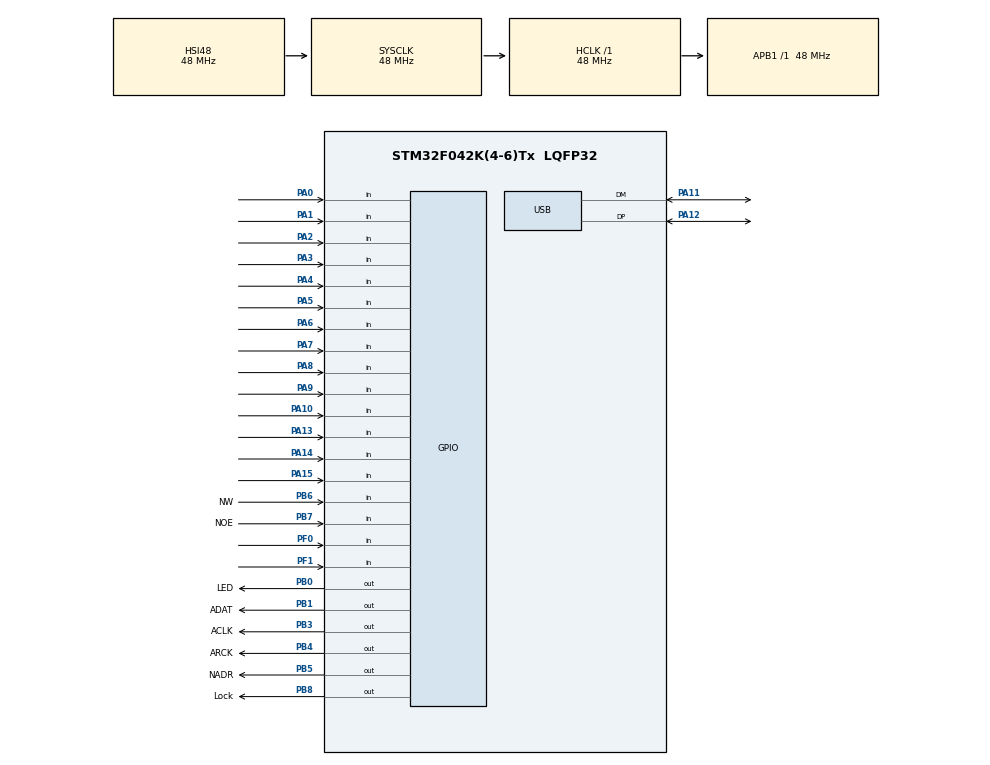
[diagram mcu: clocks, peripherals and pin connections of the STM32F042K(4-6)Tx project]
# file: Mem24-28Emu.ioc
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Mcu.Family=STM32F0
Mcu.Name=STM32F042K(4-6)Tx
Mcu.Package=LQFP32
NVIC.USB_IRQn=true\:0\:0\:false\:false\:true\:false
PA0.Signal=GPIO_Input
PA1.Signal=GPIO_Input
PA10.Signal=GPIO_Input
PA11.Mode=Device
PA11.Signal=USB_DM
PA12.Mode=Device
PA12.Signal=USB_DP
PA13.Signal=GPIO_Input
PA14.Signal=GPIO_Input
PA15.Signal=GPIO_Input
PA2.Signal=GPIO_Input
PA3.Signal=GPIO_Input
PA4.Signal=GPIO_Input
PA5.Signal=GPIO_Input
PA6.Signal=GPIO_Input
PA7.Signal=GPIO_Input
PA8.Signal=GPIO_Input
PA9.Signal=GPIO_Input
PB0.GPIO_Label=LED
PB0.Signal=GPIO_Output
PB1.GPIO_Label=ADAT
PB1.GPIO_ModeDefaultOutputPP=GPIO_MODE_OUTPUT_OD
PB1.Signal=GPIO_Output
PB3.GPIO_Label=ACLK
PB3.GPIO_ModeDefaultOutputPP=GPIO_MODE_OUTPUT_OD
PB3.Signal=GPIO_Output
PB4.GPIO_Label=ARCK
PB4.GPIO_ModeDefaultOutputPP=GPIO_MODE_OUTPUT_OD
PB4.Signal=GPIO_Output
PB5.GPIO_Label=NADR
PB5.GPIO_ModeDefaultOutputPP=GPIO_MODE_OUTPUT_OD
PB5.PinState=GPIO_PIN_SET
PB5.Signal=GPIO_Output
PB6.GPIO_Label=NW
PB6.Signal=GPIO_Input
PB7.GPIO_Label=NOE
PB7.Signal=GPIO_Input
PB8.GPIO_Label=Lock
PB8.GPIO_ModeDefaultOutputPP=GPIO_MODE_OUTPUT_OD
PB8.Signal=GPIO_Output
PF0-OSC_IN.Signal=GPIO_Input
PF1-OSC_OUT.Signal=GPIO_Input
ProjectManager.HeapSize=0x200
ProjectManager.StackSize=0x400
ProjectManager.TargetToolchain=SW4STM32
RCC.AHBFreq_Value=48000000
RCC.APB1Freq_Value=48000000
RCC.APB1TimFreq_Value=48000000
RCC.HCLKFreq_Value=48000000
RCC.SYSCLKFreq_VALUE=48000000
RCC.SYSCLKSource=RCC_SYSCLKSOURCE_HSI48
USB_DEVICE.APP_RX_DATA_SIZE=128
USB_DEVICE.APP_TX_DATA_SIZE=128
USB_DEVICE.CLASS_NAME_FS=CDC
USB_DEVICE.MANUFACTURER_STRING=TOYOSHIMA-HOUSE
USB_DEVICE.PID_CDC_FS=0x2428
USB_DEVICE.PRODUCT_STRING_CDC_FS=Ram24-28Emu
USB_DEVICE.USBD_MAX_STR_DESC_SIZ=64
USB_DEVICE.USBD_SELF_POWERED=0
USB_DEVICE.VID=0x6666
USB_DEVICE.VirtualMode=Cdc
USB_DEVICE.VirtualModeFS=Cdc_FS
VP_RCC_USB.Mode=CRS SYNC Source USB
VP_USB_DEVICE_VS_USB_DEVICE_CDC_FS.Mode=CDC_FS
board=custom

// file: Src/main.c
/* USER CODE BEGIN Header */
/**
  ******************************************************************************
  * @file           : main.c
  * @brief          : Main program body
  ******************************************************************************
  * This notice applies to any and all portions of this file
  * that are not between comment pairs USER CODE BEGIN and
  * USER CODE END. Other portions of this file, whether
  * inserted by the user or by software development tools
  * are owned by their respective copyright owners.
  *
  * Copyright (c) 2018 STMicroelectronics International N.V.
  * All rights reserved.
  *
  * Redistribution and use in source and binary forms, with or without
  * modification, are permitted, provided that the following conditions are met:
  *
  * 1. Redistribution of source code must retain the above copyright notice,
  *    this list of conditions and the following disclaimer.
  * 2. Redistributions in binary form must reproduce the above copyright notice,
  *    this list of conditions and the following disclaimer in the documentation
  *    and/or other materials provided with the distribution.
  * 3. Neither the name of STMicroelectronics nor the names of other
  *    contributors to this software may be used to endorse or promote products
  *    derived from this software without specific written permission.
  * 4. This software, including modifications and/or derivative works of this
  *    software, must execute solely and exclusively on microcontroller or
  *    microprocessor devices manufactured by or for STMicroelectronics.
  * 5. Redistribution and use of this software other than as permitted under
  *    this license is void and will automatically terminate your rights under
  *    this license.
  *
  * THIS SOFTWARE IS PROVIDED BY STMICROELECTRONICS AND CONTRIBUTORS "AS IS"
  * AND ANY EXPRESS, IMPLIED OR STATUTORY WARRANTIES, INCLUDING, BUT NOT
  * LIMITED TO, THE IMPLIED WARRANTIES OF MERCHANTABILITY, FITNESS FOR A
  * PARTICULAR PURPOSE AND NON-INFRINGEMENT OF THIRD PARTY INTELLECTUAL PROPERTY
  * RIGHTS ARE DISCLAIMED TO THE FULLEST EXTENT PERMITTED BY LAW. IN NO EVENT
  * SHALL STMICROELECTRONICS OR CONTRIBUTORS BE LIABLE FOR ANY DIRECT, INDIRECT,
  * INCIDENTAL, SPECIAL, EXEMPLARY, OR CONSEQUENTIAL DAMAGES (INCLUDING, BUT NOT
  * LIMITED TO, PROCUREMENT OF SUBSTITUTE GOODS OR SERVICES; LOSS OF USE, DATA,
  * OR PROFITS; OR BUSINESS INTERRUPTION) HOWEVER CAUSED AND ON ANY THEORY OF
  * LIABILITY, WHETHER IN CONTRACT, STRICT LIABILITY, OR TORT (INCLUDING
  * NEGLIGENCE OR OTHERWISE) ARISING IN ANY WAY OUT OF THE USE OF THIS SOFTWARE,
  * EVEN IF ADVISED OF THE POSSIBILITY OF SUCH DAMAGE.
  *
  ******************************************************************************
  */
/* USER CODE END Header */

#include "main.h"
#include "usb_device.h"

/* USER CODE BEGIN Includes */
#include <stdarg.h>
#include "stm32f0xx_hal_gpio.h"
#include "usbd_cdc_if.h"

/* USER CODE END Includes */

/* USER CODE BEGIN PD */
// If USE_SWD_PRINTF is defined, the target device will not work without
// ST-Link connected via SWD.
//#define USE_SWD_PRINTF
//#define USE_CDC_PRINTF
//#define USE_SWD

/* USER CODE END PD */

void SystemClock_Config(void);
static void MX_GPIO_Init(void);
/* USER CODE BEGIN PFP */

int boot_to_dfu = 0;

void __initialize_hardware_early(void)
{
  if (boot_to_dfu) {
    boot_to_dfu = 0;
    ((void (*)(void))0x1fffc400)();
  } else {
    SystemInit();
  }
}

#ifdef USE_SWD_PRINTF
extern void initialise_monitor_handles();
#endif

#ifdef USE_CDC_PRINTF
#define printf CDC_Printf
#endif

int CDC_Printf(const char* format, ...) {
  char buf[128];
  va_list arg;
  va_start(arg, format);
  int size = vsnprintf(buf, 126, format, arg);
  if (buf[size - 1] == '\n') {
    buf[size - 1] = '\r';
    buf[size] = '\n';
    size++;
  }
  buf[size] = 0;
  CDC_Puts(buf);
  return size;
}

void ActivateAddress() {
  HAL_GPIO_WritePin(NADR_GPIO_Port, NADR_Pin, GPIO_PIN_RESET);
}

void InactivateAddress() {
  HAL_GPIO_WritePin(NADR_GPIO_Port, NADR_Pin, GPIO_PIN_SET);
}

void SetAddress(uint16_t address) {
  HAL_GPIO_WritePin(ACLK_GPIO_Port, ACLK_Pin, GPIO_PIN_RESET);
  HAL_GPIO_WritePin(ARCK_GPIO_Port, ARCK_Pin, GPIO_PIN_RESET);
  int i;
  for (i = 0; i < 16; ++i) {
    HAL_GPIO_WritePin(ADAT_GPIO_Port, ADAT_Pin, (address & 0x8000) ? GPIO_PIN_SET : GPIO_PIN_RESET);
    address <<= 1;
    //
    HAL_GPIO_WritePin(ACLK_GPIO_Port, ACLK_Pin, GPIO_PIN_SET);
    //
    HAL_GPIO_WritePin(ACLK_GPIO_Port, ACLK_Pin, GPIO_PIN_RESET);
    HAL_GPIO_WritePin(ARCK_GPIO_Port, ARCK_Pin, GPIO_PIN_SET);
    //
    HAL_GPIO_WritePin(ARCK_GPIO_Port, ARCK_Pin, GPIO_PIN_RESET);
  }
}

void ActivateData() {
  GPIO_InitTypeDef GPIO_InitStruct = {0};
  GPIO_InitStruct.Pin = GPIO_PIN_0|GPIO_PIN_1|GPIO_PIN_2|GPIO_PIN_3
                          |GPIO_PIN_4|GPIO_PIN_5|GPIO_PIN_6|GPIO_PIN_7
                          |GPIO_PIN_8|GPIO_PIN_9|GPIO_PIN_10|GPIO_PIN_15
#ifdef USE_SWD
			  ;
#else
			  |GPIO_PIN_13|GPIO_PIN_14;
#endif
  GPIO_InitStruct.Mode = GPIO_MODE_OUTPUT_PP;
  GPIO_InitStruct.Pull = GPIO_NOPULL;
  HAL_GPIO_Init(GPIOA, &GPIO_InitStruct);

  GPIO_InitStruct.Pin = GPIO_PIN_0|GPIO_PIN_1;
  HAL_GPIO_Init(GPIOF, &GPIO_InitStruct);
}

void InactivateData() {
  GPIO_InitTypeDef GPIO_InitStruct = {0};
  GPIO_InitStruct.Pin = GPIO_PIN_0|GPIO_PIN_1|GPIO_PIN_2|GPIO_PIN_3
                          |GPIO_PIN_4|GPIO_PIN_5|GPIO_PIN_6|GPIO_PIN_7
                          |GPIO_PIN_8|GPIO_PIN_9|GPIO_PIN_10|GPIO_PIN_15
#ifdef USE_SWD
			  ;
#else
                          |GPIO_PIN_13|GPIO_PIN_14;
#endif
  GPIO_InitStruct.Mode = GPIO_MODE_INPUT;
  GPIO_InitStruct.Pull = GPIO_NOPULL;
  HAL_GPIO_Init(GPIOA, &GPIO_InitStruct);

  GPIO_InitStruct.Pin = GPIO_PIN_0|GPIO_PIN_1;
  HAL_GPIO_Init(GPIOF, &GPIO_InitStruct);
}

void ActivateControl() {
  HAL_GPIO_WritePin(NW_GPIO_Port, NW_Pin, GPIO_PIN_SET);
  HAL_GPIO_WritePin(NOE_GPIO_Port, NOE_Pin, GPIO_PIN_SET);

  GPIO_InitTypeDef GPIO_InitStruct = {0};
  GPIO_InitStruct.Pin = NW_Pin|NOE_Pin;
  GPIO_InitStruct.Mode = GPIO_MODE_OUTPUT_OD;
  GPIO_InitStruct.Pull = GPIO_NOPULL;
  HAL_GPIO_Init(NW_GPIO_Port, &GPIO_InitStruct);
}

void InactivateControl() {
  GPIO_InitTypeDef GPIO_InitStruct = {0};
  GPIO_InitStruct.Pin = NW_Pin|NOE_Pin;
  GPIO_InitStruct.Mode = GPIO_MODE_INPUT;
  GPIO_InitStruct.Pull = GPIO_NOPULL;
  HAL_GPIO_Init(NW_GPIO_Port, &GPIO_InitStruct);
}

void LockRAM() {
  HAL_GPIO_WritePin(Lock_GPIO_Port, Lock_Pin, GPIO_PIN_SET);
  ActivateAddress();
  ActivateControl();
}

void WriteRAM(uint16_t address, uint16_t data) {
  SetAddress(address);

  ActivateData();
  uint16_t a = (data & 0x07ff) | ((data << 2) & 0xe000);
  uint16_t f = (data >> 14) & 0x0003;
#ifdef USE_SWD
  GPIOA->ODR = (GPIOA->ODR & 0xffff7800) | (a & 0x87ff);
#else
  GPIOA->ODR = (GPIOA->ODR & 0xffff1800) | a;
#endif
  GPIOF->ODR = (GPIOF->ODR & 0xfffffffc) | f;

  HAL_GPIO_WritePin(NW_GPIO_Port, NW_Pin, GPIO_PIN_RESET);
  HAL_GPIO_WritePin(NW_GPIO_Port, NW_Pin, GPIO_PIN_SET);

  InactivateData();
}

uint16_t ReadRAM(uint16_t address) {
  SetAddress(address);
  HAL_GPIO_WritePin(NOE_GPIO_Port, NOE_Pin, GPIO_PIN_RESET);
  uint16_t a = GPIOA->IDR;
  uint16_t f = GPIOF->IDR;
  HAL_GPIO_WritePin(NOE_GPIO_Port, NOE_Pin, GPIO_PIN_SET);
  return (a & 0x07ff) | ((a >> 2) & 0x3800) | (f << 14);
}

void UnlockRAM() {
  InactivateData();
  InactivateControl();
  InactivateAddress();
  HAL_GPIO_WritePin(Lock_GPIO_Port, Lock_Pin, GPIO_PIN_RESET);
}

void SetLEDOn() {
  HAL_GPIO_WritePin(LED_GPIO_Port, LED_Pin, GPIO_PIN_RESET);
}

void SetLEDOff() {
  HAL_GPIO_WritePin(LED_GPIO_Port, LED_Pin, GPIO_PIN_SET);
}

void ActivateSWD() {
  HAL_GPIO_WritePin(Lock_GPIO_Port, Lock_Pin, GPIO_PIN_SET);

  GPIO_InitTypeDef GPIO_InitStruct = {0};
  GPIO_InitStruct.Pin = GPIO_PIN_13;
  GPIO_InitStruct.Mode = GPIO_MODE_AF_PP;
  GPIO_InitStruct.Pull = GPIO_PULLUP;
  GPIO_InitStruct.Alternate = GPIO_AF0_SWDIO;
  HAL_GPIO_Init(GPIOA, &GPIO_InitStruct);

  GPIO_InitStruct.Pin = GPIO_PIN_14;
  GPIO_InitStruct.Mode = GPIO_MODE_AF_PP;
  GPIO_InitStruct.Pull = GPIO_PULLDOWN;
  GPIO_InitStruct.Alternate = GPIO_AF0_SWCLK;
  HAL_GPIO_Init(GPIOA, &GPIO_InitStruct);
}
/* USER CODE END PFP */

int main(void)
{
  /* USER CODE BEGIN 1 */
#ifdef USE_SWD_PRINTF
  initialise_monitor_handles();
#endif

  /* USER CODE END 1 */

  /* MCU Configuration--------------------------------------------------------*/

  /* Reset of all peripherals, Initializes the Flash interface and the Systick. */
  HAL_Init();

  /* Configure the system clock */
  SystemClock_Config();

  /* Initialize all configured peripherals */
  MX_GPIO_Init();
  MX_USB_DEVICE_Init();

  /* Infinite loop */
  /* USER CODE BEGIN WHILE */
  SetLEDOff();

  uint16_t address = 0;
  uint16_t data = 0;
  uint16_t burst = 0;
  uint8_t buf[64];
  while (1)
  {
    if (CDC_GetReceivedChar() != '@') {
      CDC_Puts("-");
      continue;
    }
    switch (CDC_GetReceivedChar()) {
    case 'L':  // LED ON
      SetLEDOn();
      break;
    case 'l':  // LED OFF
      SetLEDOff();
      break;
    case 'B':  // Boot to DFU
      boot_to_dfu = 1;
      NVIC_SystemReset();
      break;
    case 'S':  // Activate SWD
      ActivateSWD();
      break;
    case 'O':  // Lock
      LockRAM();
      break;
    case 'C':  // Unlock
      UnlockRAM();
      break;
    case 'A':  // Set address <High, Low>
      address = (CDC_GetReceivedChar() << 8) | CDC_GetReceivedChar();
      break;
    case 'a':  // Reset address to 0
      address = 0;
      break;
    case 'W':  // Write <Len - 1, [High, Low]+> and increment address
      burst = CDC_GetReceivedChar() + 1;
      for (size_t i = 0; i < burst; ++i) {
        data = (CDC_GetReceivedChar() << 8) | CDC_GetReceivedChar();
        WriteRAM(address++, data);
      }
      break;
    case 'w':  // Write <High, Low> and increment address
      data = (CDC_GetReceivedChar() << 8) | CDC_GetReceivedChar();
      WriteRAM(address++, data);
      break;
    case 'R':  // Read <Len - 1> and increment address
      burst = CDC_GetReceivedChar() + 1;
      if (burst > 16) {
        CDC_Puts("-");
        continue;
      }
      buf[0] = '!';
      for (size_t i = 0; i < burst; ++i) {
        data = ReadRAM(address++);
        buf[1 + i * 2] = data >> 8;
        buf[2 + i * 2] = data;
      }
      buf[1 + burst * 2] = '+';
      while (USBD_OK != CDC_Transmit_FS(buf, 2 + burst * 2));
      continue;
    case 'r':  // Read and increment address
      data = ReadRAM(address++);
      buf[0] = '!';
      buf[1] = data >> 8;
      buf[2] = data;
      buf[3] = '+';
      while (USBD_OK != CDC_Transmit_FS(buf, 4));
      continue;
    case 'x':
      {
	LockRAM();
	for (int i = 0; i < 0x10000; ++i)
	  WriteRAM(i, i);
	for (int i = 0; i < 0x10000; ++i) {
	  data = ReadRAM(i);
	  if (data == i)
	    continue;
	  CDC_Printf("@$%04x: $%04x\n", i, data);
	}
	UnlockRAM();
      }
      break;
    case 'y':
      {
	LockRAM();
	for (int i = 0; i < 0x10000; ++i)
	  WriteRAM(i, i);
	UnlockRAM();
      }
      break;
    case 'z':
      {
	LockRAM();
	for (int i = 0; i < 0x10000; ++i) {
	  data = ReadRAM(i);
	  if (data == i)
	    continue;
	  CDC_Printf("@$%04x: $%04x\n", i, data);
	}
	UnlockRAM();
      }
      break;
    default:
      CDC_Puts("-");
      continue;
    }
    CDC_Puts("+");
    /* USER CODE END WHILE */

  }
}

void SystemClock_Config(void)
{
  RCC_OscInitTypeDef RCC_OscInitStruct = {0};
  RCC_ClkInitTypeDef RCC_ClkInitStruct = {0};
  RCC_PeriphCLKInitTypeDef PeriphClkInit = {0};
  RCC_CRSInitTypeDef RCC_CRSInitStruct = {0};

  /**Initializes the CPU, AHB and APB busses clocks
  */
  RCC_OscInitStruct.OscillatorType = RCC_OSCILLATORTYPE_HSI48;
  RCC_OscInitStruct.HSI48State = RCC_HSI48_ON;
  RCC_OscInitStruct.PLL.PLLState = RCC_PLL_NONE;
  if (HAL_RCC_OscConfig(&RCC_OscInitStruct) != HAL_OK)
  {
    Error_Handler();
  }
  /**Initializes the CPU, AHB and APB busses clocks
  */
  RCC_ClkInitStruct.ClockType = RCC_CLOCKTYPE_HCLK|RCC_CLOCKTYPE_SYSCLK
                              |RCC_CLOCKTYPE_PCLK1;
  RCC_ClkInitStruct.SYSCLKSource = RCC_SYSCLKSOURCE_HSI48;
  RCC_ClkInitStruct.AHBCLKDivider = RCC_SYSCLK_DIV1;
  RCC_ClkInitStruct.APB1CLKDivider = RCC_HCLK_DIV1;

  if (HAL_RCC_ClockConfig(&RCC_ClkInitStruct, FLASH_LATENCY_1) != HAL_OK)
  {
    Error_Handler();
  }
  PeriphClkInit.PeriphClockSelection = RCC_PERIPHCLK_USB;
  PeriphClkInit.UsbClockSelection = RCC_USBCLKSOURCE_HSI48;

  if (HAL_RCCEx_PeriphCLKConfig(&PeriphClkInit) != HAL_OK)
  {
    Error_Handler();
  }
  /**Enable the SYSCFG APB clock
  */
  __HAL_RCC_CRS_CLK_ENABLE();
  /**Configures CRS
  */
  RCC_CRSInitStruct.Prescaler = RCC_CRS_SYNC_DIV1;
  RCC_CRSInitStruct.Source = RCC_CRS_SYNC_SOURCE_USB;
  RCC_CRSInitStruct.Polarity = RCC_CRS_SYNC_POLARITY_RISING;
  RCC_CRSInitStruct.ReloadValue = __HAL_RCC_CRS_RELOADVALUE_CALCULATE(48000000,1000);
  RCC_CRSInitStruct.ErrorLimitValue = 34;
  RCC_CRSInitStruct.HSI48CalibrationValue = 32;

  HAL_RCCEx_CRSConfig(&RCC_CRSInitStruct);
}

static void MX_GPIO_Init(void)
{
  GPIO_InitTypeDef GPIO_InitStruct = {0};

  /* GPIO Ports Clock Enable */
  __HAL_RCC_GPIOF_CLK_ENABLE();
  __HAL_RCC_GPIOA_CLK_ENABLE();
  __HAL_RCC_GPIOB_CLK_ENABLE();

  /*Configure GPIO pin Output Level */
  HAL_GPIO_WritePin(GPIOB, LED_Pin|ADAT_Pin|ACLK_Pin|ARCK_Pin
                          |Lock_Pin, GPIO_PIN_RESET);

  /*Configure GPIO pin Output Level */
  HAL_GPIO_WritePin(NADR_GPIO_Port, NADR_Pin, GPIO_PIN_SET);

  /*Configure GPIO pins : PF0 PF1 */
  GPIO_InitStruct.Pin = GPIO_PIN_0|GPIO_PIN_1;
  GPIO_InitStruct.Mode = GPIO_MODE_INPUT;
  GPIO_InitStruct.Pull = GPIO_NOPULL;
  HAL_GPIO_Init(GPIOF, &GPIO_InitStruct);

  /*Configure GPIO pins : PA0 PA1 PA2 PA3
                           PA4 PA5 PA6 PA7
                           PA8 PA9 PA10 PA13
                           PA14 PA15 */
  GPIO_InitStruct.Pin = GPIO_PIN_0|GPIO_PIN_1|GPIO_PIN_2|GPIO_PIN_3
                          |GPIO_PIN_4|GPIO_PIN_5|GPIO_PIN_6|GPIO_PIN_7
                          |GPIO_PIN_8|GPIO_PIN_9|GPIO_PIN_10|GPIO_PIN_15
#ifdef USE_SWD
			  ;
#else
			  |GPIO_PIN_13|GPIO_PIN_14;
#endif
  GPIO_InitStruct.Mode = GPIO_MODE_INPUT;
  GPIO_InitStruct.Pull = GPIO_NOPULL;
  HAL_GPIO_Init(GPIOA, &GPIO_InitStruct);

  /*Configure GPIO pin : LED_Pin */
  GPIO_InitStruct.Pin = LED_Pin;
  GPIO_InitStruct.Mode = GPIO_MODE_OUTPUT_PP;
  GPIO_InitStruct.Pull = GPIO_NOPULL;
  GPIO_InitStruct.Speed = GPIO_SPEED_FREQ_LOW;
  HAL_GPIO_Init(LED_GPIO_Port, &GPIO_InitStruct);

  /*Configure GPIO pins : ADAT_Pin ACLK_Pin ARCK_Pin NADR_Pin
                           Lock_Pin */
  GPIO_InitStruct.Pin = ADAT_Pin|ACLK_Pin|ARCK_Pin|NADR_Pin
                          |Lock_Pin;
  GPIO_InitStruct.Mode = GPIO_MODE_OUTPUT_OD;
  GPIO_InitStruct.Pull = GPIO_NOPULL;
  GPIO_InitStruct.Speed = GPIO_SPEED_FREQ_LOW;
  HAL_GPIO_Init(GPIOB, &GPIO_InitStruct);

  /*Configure GPIO pins : NW_Pin NOE_Pin */
  GPIO_InitStruct.Pin = NW_Pin|NOE_Pin;
  GPIO_InitStruct.Mode = GPIO_MODE_INPUT;
  GPIO_InitStruct.Pull = GPIO_NOPULL;
  HAL_GPIO_Init(GPIOB, &GPIO_InitStruct);

}

void Error_Handler(void)
{
}

/************************ (C) COPYRIGHT STMicroelectronics *****END OF FILE****/
